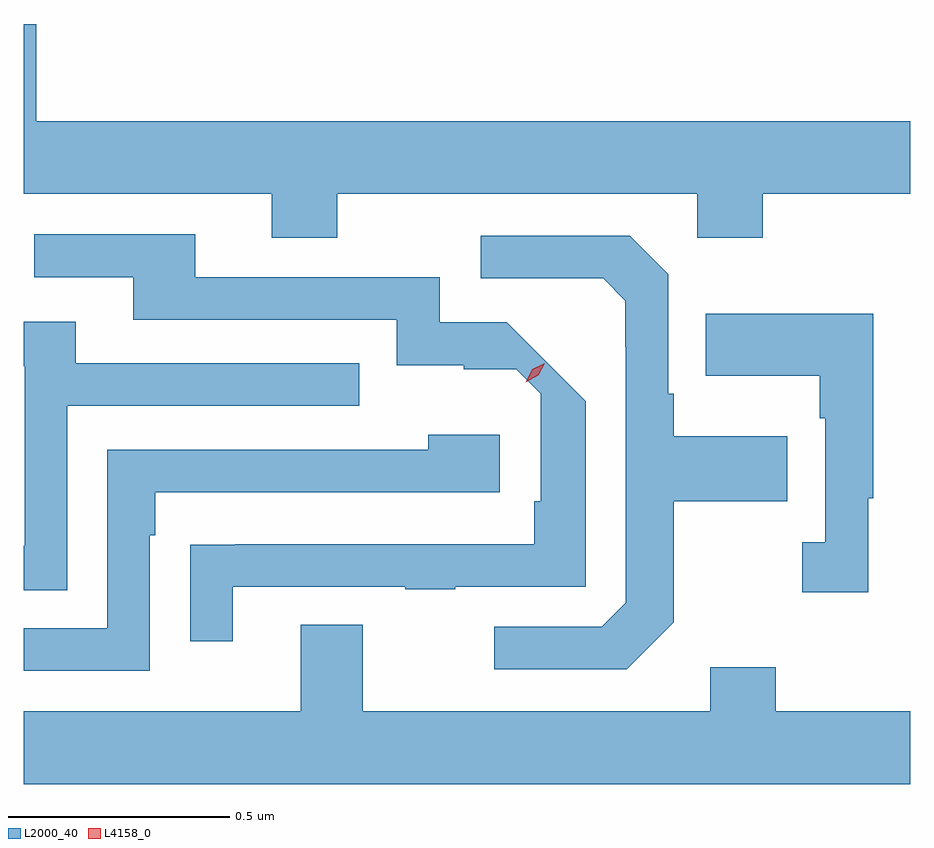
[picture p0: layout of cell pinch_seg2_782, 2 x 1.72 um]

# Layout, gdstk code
import gdstk
lib = gdstk.Library(unit=1e-6, precision=1e-09)
def P(c, l, *ps):  # polygons
    for p in ps: c.add(gdstk.Polygon(p, *l))
L2000_40 = (2000, 40)
L4158_0 = (4158, 0)

pinch_seg2_782 = lib.new_cell('pinch_seg2_782')
P(pinch_seg2_782, L2000_40, [(734.925,646.304),(735.738,646.304),(735.738,646.205),(735.885,646.205),(735.885,646.304),(736.218,646.304),(736.218,646.468),(734.246,646.468),(734.246,646.687),(734.218,646.687),(734.218,646.304),(734.777,646.304),(734.777,646.205),(734.925,646.205)],
  [(734.689,645.417),(735.079,645.417),(735.079,645.412),(735.191,645.412),(735.191,645.417),(735.486,645.417),(735.486,645.836),(735.308,646.014),(735.156,646.014),(735.156,646.116),(734.605,646.116),(734.605,646.212),(734.241,646.212),(734.241,646.116),(734.465,646.116),(734.465,646.02),(735.06,646.02),(735.06,645.917),(735.211,645.917),(735.211,645.908),(735.329,645.908),(735.384,645.853),(735.384,645.61),(735.37,645.61),(735.37,645.513),(734.695,645.513),(734.695,645.512),(734.593,645.512),(734.593,645.294),(734.689,645.294)],
  [(735.685,645.337),(735.685,645.61),(735.941,645.61),(735.941,645.757),(735.685,645.757),(735.685,645.853),(735.672,645.853),(735.672,646.122),(735.585,646.209),(735.249,646.209),(735.249,646.113),(735.525,646.113),(735.575,646.063),(735.575,645.959),(735.576,645.959),(735.576,645.381),(735.522,645.327),(735.279,645.327),(735.279,645.231),(735.579,645.231)],
  [(736.123,645.617),(736.135,645.617),(736.135,646.033),(735.757,646.033),(735.757,645.893),(736.014,645.893),(736.014,645.797),(736.026,645.797),(736.026,645.518),(735.975,645.518),(735.975,645.405),(736.123,645.405)],
  [(734.316,645.825),(734.975,645.825),(734.975,645.921),(734.335,645.921),(734.335,646.015),(734.218,646.015),(734.218,645.915),(734.22,645.915),(734.22,645.51),(734.218,645.51),(734.218,645.409),(734.316,645.409)],
  [(734.502,645.533),(734.515,645.533),(734.515,645.63),(735.292,645.63),(735.292,645.76),(735.131,645.76),(735.131,645.726),(734.406,645.726),(734.406,645.324),(734.218,645.324),(734.218,645.228),(734.502,645.228)],
  [(736.218,645.136),(735.915,645.136),(735.915,645.235),(735.767,645.235),(735.767,645.136),(734.983,645.136),(734.983,645.331),(734.843,645.331),(734.843,645.136),(734.218,645.136),(734.218,644.972),(736.218,644.972)])
P(pinch_seg2_782, L4158_0, [(735.351,645.879),(735.351,645.879),(735.365,645.908),(735.393,645.922),(735.393,645.922),(735.393,645.922),(735.379,645.894),(735.351,645.879)])

lib.write_gds('pinch_seg2_782.gds')
